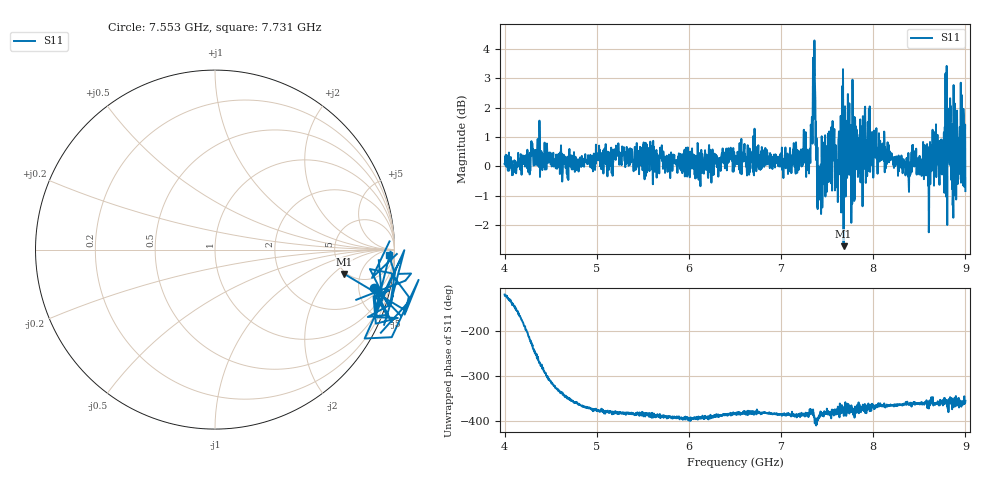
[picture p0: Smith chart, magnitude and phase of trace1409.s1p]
! Created with skrf 1.8.0 (http://scikit-rf.org).
# Hz S RI R 50.0
!freq ReS11 ImS11
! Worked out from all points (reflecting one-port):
!   1601 points, 4 GHz to 9 GHz, reference 50 ohm
!   lowest |S11| = -2.7 dB at 7.678 GHz (marker M1), VSWR 6.47, Z = 239 - j139 ohm
!   phase of S11 starts at -119 deg and turns -236 deg over the sweep
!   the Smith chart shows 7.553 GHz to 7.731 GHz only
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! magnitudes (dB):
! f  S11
! 4 GHz  0.1
! 4.625 GHz  -0.5
! 5.25 GHz  0.2
! 5.875 GHz  -0.2
! 6.5 GHz  0.2
! 7.125 GHz  0.3
! 7.294 GHz  0.5
! 7.319 GHz  0.1
! 7.347 GHz  3.7
! 7.369 GHz  2.7
! 7.4 GHz  -1.3
! 7.412 GHz  -0.9
! 7.553 GHz  -0.8
! 7.609 GHz  -0.6
! 7.647 GHz  1.7
! 7.678 GHz  -2.7
! 7.75 GHz  0.4
! 7.769 GHz  -0.2
! 7.8 GHz  -1.1
! 7.962 GHz  2.0
! 8.375 GHz  -0.2
! 8.566 GHz  -0.3
! 8.612 GHz  0.3
! 8.634 GHz  -0.1
! 8.819 GHz  1.4
! 8.875 GHz  0.4
! 8.959 GHz  2.4
! 9 GHz  -0.8
